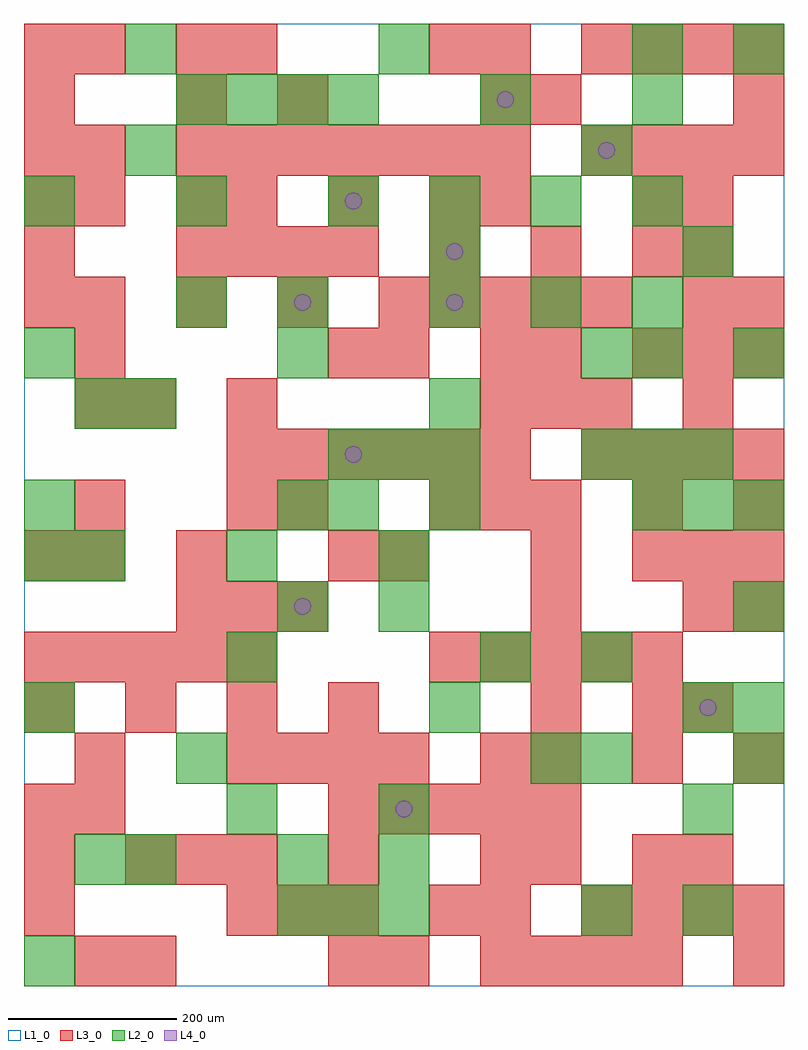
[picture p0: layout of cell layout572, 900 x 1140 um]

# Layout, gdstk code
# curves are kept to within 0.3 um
import gdstk
lib = gdstk.Library(unit=1e-6, precision=1e-09)
def R(c, l, rs):  # rectangles x0, y0, x1, y1
    for r in rs: c.add(gdstk.rectangle(r[:2], r[2:], *l))
def A(c, l, x, y, w, h, nx, ny, dx, dy):  # array of equal rectangles
    R(c, l, [(x+i*dx, y+j*dy, x+i*dx+w, y+j*dy+h) for i in range(nx) for j in range(ny)])
def P(c, l, *ps):  # polygons
    for p in ps: c.add(gdstk.Polygon(p, *l))
L1_0 = (1, 0)
L2_0 = (2, 0)
L3_0 = (3, 0)
L4_0 = (4, 0)

layout572 = lib.new_cell('layout572')
R(layout572, L1_0, [(0,0,900,1140)])
A(layout572, L2_0, 300, 60, 60, 60, 3, 1, 60, 0)
A(layout572, L2_0, 780, 60, 60, 60, 1, 3, 0, 120)
A(layout572, L2_0, 60, 480, 60, 60, 3, 1, 180, 0)
A(layout572, L2_0, 720, 540, 60, 60, 3, 1, 60, 0)
A(layout572, L2_0, 360, 600, 60, 60, 3, 1, 60, 0)
A(layout572, L2_0, 660, 600, 60, 60, 3, 1, 60, 0)
A(layout572, L2_0, 480, 780, 60, 60, 3, 2, 120, 120)
A(layout572, L2_0, 0, 900, 60, 60, 3, 1, 180, 0)
A(layout572, L2_0, 180, 1020, 60, 60, 4, 1, 60, 0)
A(layout572, L2_0, 120, 1080, 60, 60, 3, 1, 300, 0)
R(layout572, L2_0, [(0,0,60,60), (660,60,720,120), (60,120,120,180), (120,120,180,180), (300,120,360,180), (420,120,480,180), (240,180,300,240), (420,180,480,240), (180,240,240,300), (600,240,660,300), (660,240,720,300), (840,240,900,300), (0,300,60,360), (480,300,540,360), (840,300,900,360), (240,360,300,420), (540,360,600,420), (660,360,720,420), (300,420,360,480), (420,420,480,480), (840,420,900,480), (0,480,60,540), (0,540,60,600), (300,540,360,600), (360,540,420,600), (480,540,540,600), (60,660,120,720), (120,660,180,720), (480,660,540,720), (0,720,60,780), (300,720,360,780), (660,720,720,780), (720,720,780,780), (840,720,900,780), (180,780,240,840), (300,780,360,840), (480,840,540,900), (780,840,840,900), (120,960,180,1020), (660,960,720,1020), (540,1020,600,1080), (720,1020,780,1080), (840,1080,900,1140)])
A(layout572, L3_0, 540, 0, 60, 60, 4, 1, 60, 0)
A(layout572, L3_0, 0, 60, 60, 60, 1, 3, 0, 60)
A(layout572, L3_0, 240, 60, 60, 60, 3, 1, 60, 0)
A(layout572, L3_0, 660, 60, 60, 60, 4, 2, 60, 540)
A(layout572, L3_0, 120, 120, 60, 60, 3, 1, 60, 0)
A(layout572, L3_0, 360, 180, 60, 60, 5, 1, 60, 0)
A(layout572, L3_0, 240, 240, 60, 60, 4, 1, 60, 0)
A(layout572, L3_0, 600, 240, 60, 60, 3, 1, 120, 0)
A(layout572, L3_0, 0, 300, 60, 60, 4, 1, 120, 0)
A(layout572, L3_0, 0, 360, 60, 60, 5, 1, 60, 0)
A(layout572, L3_0, 480, 360, 60, 60, 5, 1, 60, 0)
A(layout572, L3_0, 180, 420, 60, 60, 3, 1, 60, 0)
A(layout572, L3_0, 720, 480, 60, 60, 3, 2, 60, 240)
A(layout572, L3_0, 480, 540, 60, 60, 3, 1, 60, 0)
A(layout572, L3_0, 840, 540, 60, 60, 1, 3, 0, 240)
A(layout572, L3_0, 240, 600, 60, 60, 6, 1, 60, 0)
A(layout572, L3_0, 540, 660, 60, 60, 3, 1, 60, 0)
A(layout572, L3_0, 0, 780, 60, 60, 1, 6, 0, 60)
A(layout572, L3_0, 60, 780, 60, 60, 4, 1, 120, 0)
A(layout572, L3_0, 480, 780, 60, 60, 4, 1, 60, 0)
A(layout572, L3_0, 780, 780, 60, 60, 1, 3, 0, 60)
A(layout572, L3_0, 180, 840, 60, 60, 4, 1, 60, 0)
A(layout572, L3_0, 480, 840, 60, 60, 3, 1, 120, 0)
A(layout572, L3_0, 240, 900, 60, 60, 3, 1, 120, 0)
A(layout572, L3_0, 180, 960, 60, 60, 7, 1, 60, 0)
A(layout572, L3_0, 660, 960, 60, 60, 4, 2, 60, 120)
R(layout572, L3_0, [(60,0,120,60), (120,0,180,60), (360,0,420,60), (420,0,480,60), (840,0,900,60), (480,60,540,120), (540,60,600,120), (360,120,420,180), (540,120,600,180), (600,120,660,180), (720,120,780,180), (780,120,840,180), (60,180,120,240), (60,240,120,300), (540,240,600,300), (600,300,660,360), (720,300,780,360), (780,300,840,360), (600,420,660,480), (780,420,840,480), (840,420,900,480), (0,480,60,540), (60,480,120,540), (180,480,240,540), (360,480,420,540), (420,480,480,540), (600,480,660,540), (60,540,120,600), (240,540,300,600), (300,540,360,600), (720,540,780,600), (60,660,120,720), (120,660,180,720), (240,660,300,720), (780,660,840,720), (60,720,120,780), (360,720,420,780), (420,720,480,780), (540,720,600,780), (600,720,660,780), (60,900,120,960), (180,900,240,960), (540,900,600,960), (720,900,780,960), (60,960,120,1020), (180,1020,240,1080), (300,1020,360,1080), (540,1020,600,1080), (600,1020,660,1080), (60,1080,120,1140), (180,1080,240,1140), (240,1080,300,1140), (480,1080,540,1140), (540,1080,600,1140)])
P(layout572, L4_0, [(340,450),(339.239,453.827),(337.071,457.071),(333.827,459.239),(330,460),(326.173,459.239),(322.929,457.071),(320.761,453.827),(320,450),(320.761,446.173),(322.929,442.929),(326.173,440.761),(330,440),(333.827,440.761),(337.071,442.929),(339.239,446.173)],
  [(340,810),(339.239,813.827),(337.071,817.071),(333.827,819.239),(330,820),(326.173,819.239),(322.929,817.071),(320.761,813.827),(320,810),(320.761,806.173),(322.929,802.929),(326.173,800.761),(330,800),(333.827,800.761),(337.071,802.929),(339.239,806.173)],
  [(400,630),(399.239,633.827),(397.071,637.071),(393.827,639.239),(390,640),(386.173,639.239),(382.929,637.071),(380.761,633.827),(380,630),(380.761,626.173),(382.929,622.929),(386.173,620.761),(390,620),(393.827,620.761),(397.071,622.929),(399.239,626.173)],
  [(400,930),(399.239,933.827),(397.071,937.071),(393.827,939.239),(390,940),(386.173,939.239),(382.929,937.071),(380.761,933.827),(380,930),(380.761,926.173),(382.929,922.929),(386.173,920.761),(390,920),(393.827,920.761),(397.071,922.929),(399.239,926.173)],
  [(460,210),(459.239,213.827),(457.071,217.071),(453.827,219.239),(450,220),(446.173,219.239),(442.929,217.071),(440.761,213.827),(440,210),(440.761,206.173),(442.929,202.929),(446.173,200.761),(450,200),(453.827,200.761),(457.071,202.929),(459.239,206.173)],
  [(520,810),(519.239,813.827),(517.071,817.071),(513.827,819.239),(510,820),(506.173,819.239),(502.929,817.071),(500.761,813.827),(500,810),(500.761,806.173),(502.929,802.929),(506.173,800.761),(510,800),(513.827,800.761),(517.071,802.929),(519.239,806.173)],
  [(520,870),(519.239,873.827),(517.071,877.071),(513.827,879.239),(510,880),(506.173,879.239),(502.929,877.071),(500.761,873.827),(500,870),(500.761,866.173),(502.929,862.929),(506.173,860.761),(510,860),(513.827,860.761),(517.071,862.929),(519.239,866.173)],
  [(580,1050),(579.239,1053.827),(577.071,1057.071),(573.827,1059.239),(570,1060),(566.173,1059.239),(562.929,1057.071),(560.761,1053.827),(560,1050),(560.761,1046.173),(562.929,1042.929),(566.173,1040.761),(570,1040),(573.827,1040.761),(577.071,1042.929),(579.239,1046.173)],
  [(700,990),(699.239,993.827),(697.071,997.071),(693.827,999.239),(690,1000),(686.173,999.239),(682.929,997.071),(680.761,993.827),(680,990),(680.761,986.173),(682.929,982.929),(686.173,980.761),(690,980),(693.827,980.761),(697.071,982.929),(699.239,986.173)],
  [(820,330),(819.239,333.827),(817.071,337.071),(813.827,339.239),(810,340),(806.173,339.239),(802.929,337.071),(800.761,333.827),(800,330),(800.761,326.173),(802.929,322.929),(806.173,320.761),(810,320),(813.827,320.761),(817.071,322.929),(819.239,326.173)])

lib.write_gds('layout572.gds')
